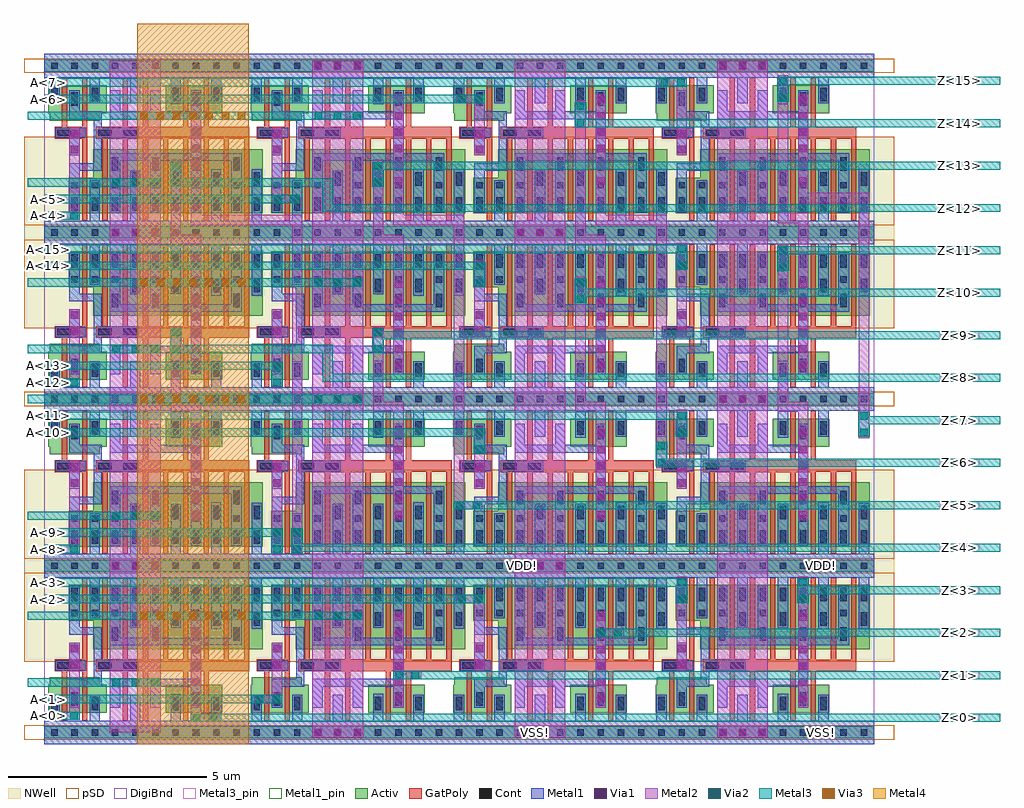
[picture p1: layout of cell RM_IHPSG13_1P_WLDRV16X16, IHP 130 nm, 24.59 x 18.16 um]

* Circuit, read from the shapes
.subckt RM_IHPSG13_1P_WLDRV16X16 A<0> A<10> A<11> A<12> A<13> A<14> A<15> A<1> A<2> A<3> A<4> A<5> A<6> A<7> A<8> A<9> VDD! VSS! Z<0> Z<10> Z<11> Z<12> Z<13> Z<14> Z<15> Z<1> Z<2> Z<3> Z<4> Z<5> Z<6> Z<7> Z<8> Z<9>
XM1 n1 A<0> VSS! VSS! sg13_lv_nmos w=0.9u l=0.13u m=2
XM2 n2 A<8> VSS! VSS! sg13_lv_nmos w=0.9u l=0.13u m=2
XM3 n3 A<12> VSS! VSS! sg13_lv_nmos w=0.9u l=0.13u m=2
XM4 n4 A<4> VSS! VSS! sg13_lv_nmos w=0.9u l=0.13u m=2
XM5 Z<0> n1 VSS! VSS! sg13_lv_nmos w=0.705u l=0.13u m=2
XM6 Z<8> n2 VSS! VSS! sg13_lv_nmos w=0.705u l=0.13u m=2
XM7 Z<12> n3 VSS! VSS! sg13_lv_nmos w=0.705u l=0.13u m=2
XM8 Z<4> n4 VSS! VSS! sg13_lv_nmos w=0.705u l=0.13u m=2
XM9 n5 A<1> VSS! VSS! sg13_lv_nmos w=0.9u l=0.13u m=2
XM10 n6 A<9> VSS! VSS! sg13_lv_nmos w=0.9u l=0.13u m=2
XM11 n7 A<13> VSS! VSS! sg13_lv_nmos w=0.9u l=0.13u m=2
XM12 n8 A<5> VSS! VSS! sg13_lv_nmos w=0.9u l=0.13u m=2
XM13 Z<1> n5 VSS! VSS! sg13_lv_nmos w=0.705u l=0.13u m=2
XM14 Z<9> n6 VSS! VSS! sg13_lv_nmos w=0.705u l=0.13u m=2
XM15 Z<13> n7 VSS! VSS! sg13_lv_nmos w=0.705u l=0.13u m=2
XM16 Z<5> n8 VSS! VSS! sg13_lv_nmos w=0.705u l=0.13u m=2
XM17 n9 A<2> VSS! VSS! sg13_lv_nmos w=0.9u l=0.13u m=2
XM18 n10 A<10> VSS! VSS! sg13_lv_nmos w=0.9u l=0.13u m=2
XM19 n11 A<14> VSS! VSS! sg13_lv_nmos w=0.9u l=0.13u m=2
XM20 n12 A<6> VSS! VSS! sg13_lv_nmos w=0.9u l=0.13u m=2
XM21 Z<2> n9 VSS! VSS! sg13_lv_nmos w=0.705u l=0.13u m=2
XM22 Z<10> n10 VSS! VSS! sg13_lv_nmos w=0.705u l=0.13u m=2
XM23 Z<14> n11 VSS! VSS! sg13_lv_nmos w=0.705u l=0.13u m=2
XM24 Z<6> n12 VSS! VSS! sg13_lv_nmos w=0.705u l=0.13u m=2
XM25 n13 A<3> VSS! VSS! sg13_lv_nmos w=0.9u l=0.13u m=2
XM26 n14 A<11> VSS! VSS! sg13_lv_nmos w=0.9u l=0.13u m=2
XM27 n15 A<15> VSS! VSS! sg13_lv_nmos w=0.9u l=0.13u m=2
XM28 n16 A<7> VSS! VSS! sg13_lv_nmos w=0.9u l=0.13u m=2
XM29 Z<3> n13 VSS! VSS! sg13_lv_nmos w=0.705u l=0.13u m=2
XM30 Z<11> n14 VSS! VSS! sg13_lv_nmos w=0.705u l=0.13u m=2
XM31 Z<15> n15 VSS! VSS! sg13_lv_nmos w=0.705u l=0.13u m=2
XM32 Z<7> n16 VSS! VSS! sg13_lv_nmos w=0.705u l=0.13u m=2
XM33 VDD! A<0> n1 VDD! sg13_lv_pmos w=0.9u l=0.13u
XM34 VDD! A<8> n2 VDD! sg13_lv_pmos w=0.9u l=0.13u
XM35 VDD! A<12> n3 VDD! sg13_lv_pmos w=0.9u l=0.13u
XM36 VDD! A<4> n4 VDD! sg13_lv_pmos w=0.9u l=0.13u
XM37 Z<0> n1 VDD! VDD! sg13_lv_pmos w=1.62u l=0.13u m=8
XM38 Z<8> n2 VDD! VDD! sg13_lv_pmos w=1.62u l=0.13u m=8
XM39 Z<12> n3 VDD! VDD! sg13_lv_pmos w=1.62u l=0.13u m=8
XM40 Z<4> n4 VDD! VDD! sg13_lv_pmos w=1.62u l=0.13u m=8
XM41 VDD! A<1> n5 VDD! sg13_lv_pmos w=0.9u l=0.13u
XM42 VDD! A<9> n6 VDD! sg13_lv_pmos w=0.9u l=0.13u
XM43 VDD! A<13> n7 VDD! sg13_lv_pmos w=0.9u l=0.13u
XM44 VDD! A<5> n8 VDD! sg13_lv_pmos w=0.9u l=0.13u
XM45 Z<1> n5 VDD! VDD! sg13_lv_pmos w=1.62u l=0.13u m=8
XM46 Z<9> n6 VDD! VDD! sg13_lv_pmos w=1.62u l=0.13u m=8
XM47 Z<13> n7 VDD! VDD! sg13_lv_pmos w=1.62u l=0.13u m=8
XM48 Z<5> n8 VDD! VDD! sg13_lv_pmos w=1.62u l=0.13u m=8
XM49 VDD! A<2> n9 VDD! sg13_lv_pmos w=0.9u l=0.13u
XM50 VDD! A<10> n10 VDD! sg13_lv_pmos w=0.9u l=0.13u
XM51 VDD! A<14> n11 VDD! sg13_lv_pmos w=0.9u l=0.13u
XM52 VDD! A<6> n12 VDD! sg13_lv_pmos w=0.9u l=0.13u
XM53 Z<2> n9 VDD! VDD! sg13_lv_pmos w=1.62u l=0.13u m=8
XM54 Z<10> n10 VDD! VDD! sg13_lv_pmos w=1.62u l=0.13u m=8
XM55 Z<14> n11 VDD! VDD! sg13_lv_pmos w=1.62u l=0.13u m=8
XM56 Z<6> n12 VDD! VDD! sg13_lv_pmos w=1.62u l=0.13u m=8
XM57 VDD! A<3> n13 VDD! sg13_lv_pmos w=0.9u l=0.13u
XM58 VDD! A<11> n14 VDD! sg13_lv_pmos w=0.9u l=0.13u
XM59 VDD! A<15> n15 VDD! sg13_lv_pmos w=0.9u l=0.13u
XM60 VDD! A<7> n16 VDD! sg13_lv_pmos w=0.9u l=0.13u
XM61 Z<3> n13 VDD! VDD! sg13_lv_pmos w=1.62u l=0.13u m=8
XM62 Z<11> n14 VDD! VDD! sg13_lv_pmos w=1.62u l=0.13u m=8
XM63 Z<15> n15 VDD! VDD! sg13_lv_pmos w=1.62u l=0.13u m=8
XM64 Z<7> n16 VDD! VDD! sg13_lv_pmos w=1.62u l=0.13u m=8
.ends

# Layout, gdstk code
from math import pi, radians
import gdstk
lib = gdstk.Library(unit=1e-6, precision=1e-09)
def R(c, l, rs):  # rectangles x0, y0, x1, y1
    for r in rs: c.add(gdstk.rectangle(r[:2], r[2:], *l))
def A(c, l, x, y, w, h, nx, ny, dx, dy):  # array of equal rectangles
    R(c, l, [(x+i*dx, y+j*dy, x+i*dx+w, y+j*dy+h) for i in range(nx) for j in range(ny)])
def P(c, l, *ps):  # polygons
    for p in ps: c.add(gdstk.Polygon(p, *l))
Activ = (1, 0)
GatPoly = (5, 0)
Cont = (6, 0)
Metal1 = (8, 0)
Metal1_pin = (8, 2)
Metal2 = (10, 0)
pSD = (14, 0)
DigiBnd = (16, 0)
Via1 = (19, 0)
Via2 = (29, 0)
Metal3 = (30, 0)
Metal3_pin = (30, 2)
NWell = (31, 0)
Via3 = (49, 0)
Metal4 = (50, 0)

rsc_ihpsg13_wldrvx16 = lib.new_cell('RSC_IHPSG13_WLDRVX16')
R(rsc_ihpsg13_wldrvx16, Activ, [(0,-0.15,5.61,0.15), (3.06,0.49,4.485,1.195), (0,4.05,5.61,4.35)])
P(rsc_ihpsg13_wldrvx16, Activ, [(1.235,2.1),(1.235,2.82),(0.615,2.82),(0.615,3.72),(5.505,3.72),(5.505,2.1)],
  [(0.105,0.49),(0.105,1.195),(0.135,1.195),(0.135,1.39),(1.395,1.39),(1.395,1.195),(1.57,1.195),(1.57,0.49)])
P(rsc_ihpsg13_wldrvx16, GatPoly, [(1.975,0.3),(1.975,1.54),(1.295,1.54),(1.295,1.84),(1.465,1.84),(1.465,3.9),(1.595,3.9),(1.595,1.84),(1.975,1.84),(1.975,3.9),(2.105,3.9),(2.105,1.84),(2.485,1.84),(2.485,3.9),(2.615,3.9),(2.615,1.84),(2.995,1.84),(2.995,3.9),(3.125,3.9),(3.125,1.84),(3.505,1.84),(3.505,3.9),(3.635,3.9),(3.635,1.84),(4.015,1.84),(4.015,3.9),(4.145,3.9),(4.145,1.835),(4.525,1.835),(4.525,3.9),(4.655,3.9),(4.655,1.835),(5.035,1.835),(5.035,3.9),(5.165,3.9),(5.165,1.54),(4.145,1.54),(4.145,0.3),(4.015,0.3),(4.015,1.54),(3.635,1.54),(3.635,0.3),(3.505,0.3),(3.505,1.54),(2.615,1.54),(2.615,0.3),(2.485,0.3),(2.485,1.54),(2.105,1.54),(2.105,0.3)],
  [(0.445,0.3),(0.445,1.54),(0.26,1.54),(0.26,1.84),(0.955,1.84),(0.955,3.9),(1.085,3.9),(1.085,0.3),(0.955,0.3),(0.955,1.54),(0.575,1.54),(0.575,0.3)])
A(rsc_ihpsg13_wldrvx16, Cont, 0.175, -0.08, 0.16, 0.16, 11, 2, 0.51, 4.2)
A(rsc_ihpsg13_wldrvx16, Cont, 1.705, 2.31, 0.16, 0.34, 4, 1, 1.02, 0)
A(rsc_ihpsg13_wldrvx16, Cont, 2.215, 2.69, 0.16, 0.34, 4, 1, 1.02, 0)
A(rsc_ihpsg13_wldrvx16, Cont, 0.685, 2.93, 0.16, 0.16, 3, 1, 0.51, 0)
A(rsc_ihpsg13_wldrvx16, Cont, 2.725, 2.93, 0.16, 0.16, 3, 1, 1.02, 0)
A(rsc_ihpsg13_wldrvx16, Cont, 0.685, 3.31, 0.16, 0.34, 10, 1, 0.51, 0)
R(rsc_ihpsg13_wldrvx16, Cont, [(0.175,0.56,0.335,0.9), (1.195,0.56,1.355,0.9), (3.235,0.56,3.395,0.9), (4.255,0.56,4.415,0.9), (0.685,0.67,0.845,1.01), (3.745,0.67,3.905,1.01), (0.33,1.61,0.67,1.77), (1.365,1.61,1.705,1.77), (1.985,1.61,2.325,1.77)])
R(rsc_ihpsg13_wldrvx16, Metal1, [(0.28,1.56,1.05,1.82), (5.225,2.61,5.485,3.935)])
P(rsc_ihpsg13_wldrvx16, Metal1, [(0.635,0.62),(0.635,1.35),(1.25,1.35),(1.25,2.46),(0.635,2.46),(0.635,3.7),(0.895,3.7),(0.895,2.65),(1.455,2.65),(1.455,1.83),(2.375,1.83),(2.375,1.56),(1.455,1.56),(1.455,1.15),(0.895,1.15),(0.895,0.62)],
  [(1.655,0.62),(1.655,1.35),(3.695,1.35),(3.695,2.2),(1.655,2.2),(1.655,3.7),(1.915,3.7),(1.915,2.39),(2.675,2.39),(2.675,3.7),(2.935,3.7),(2.935,2.39),(3.695,2.39),(3.695,3.7),(3.955,3.7),(3.955,2.39),(4.71,2.39),(4.71,3.7),(4.98,3.7),(4.98,2.2),(3.955,2.2),(3.955,0.62),(3.695,0.62),(3.695,1.15),(2.935,1.15),(2.935,0.62),(2.675,0.62),(2.675,1.15),(1.915,1.15),(1.915,0.62)],
  [(4.205,2.605),(4.205,3.9),(3.445,3.9),(3.445,2.64),(3.185,2.64),(3.185,3.9),(2.425,3.9),(2.425,2.64),(2.165,2.64),(2.165,3.9),(1.405,3.9),(1.405,2.88),(1.145,2.88),(1.145,3.9),(0,3.9),(0,4.5),(5.61,4.5),(5.61,3.9),(4.465,3.9),(4.465,2.605)],
  [(0,-0.3),(0,0.3),(0.125,0.3),(0.125,0.95),(0.385,0.95),(0.385,0.3),(1.145,0.3),(1.145,0.95),(1.405,0.95),(1.405,0.3),(2.165,0.3),(2.165,0.95),(2.425,0.95),(2.425,0.3),(3.185,0.3),(3.185,0.97),(3.445,0.97),(3.445,0.3),(4.205,0.3),(4.205,0.95),(4.465,0.95),(4.465,0.3),(5.61,0.3),(5.61,-0.3)])
R(rsc_ihpsg13_wldrvx16, Metal1_pin, [(0,-0.3,5.61,0.3), (3.695,0.62,3.955,3.7), (0.28,1.56,1.05,1.82), (0,3.9,5.61,4.5)])
R(rsc_ihpsg13_wldrvx16, pSD, [(-0.51,-0.18,6.12,0.18), (-0.51,1.785,6.12,4.02)])
R(rsc_ihpsg13_wldrvx16, DigiBnd, [(0,-0.3,5.61,4.5)])
R(rsc_ihpsg13_wldrvx16, NWell, [(-0.51,1.785,6.12,4.725)])
rsc_ihpsg13_wldrvx16.add(gdstk.Label('A', (0.51,1.695), layer=8, texttype=2))
rsc_ihpsg13_wldrvx16.add(gdstk.Label('Z', (3.826,1.995), layer=8, texttype=2))
rsc_ihpsg13_wldrvx16.add(gdstk.Label('VDD!', (0.84,4.2), layer=8, texttype=2))
rsc_ihpsg13_wldrvx16.add(gdstk.Label('VSS!', (1.155,0.005), layer=8, texttype=2))

m2_m1_cdns_661773879933 = lib.new_cell('M2_M1_CDNS_661773879933')
R(m2_m1_cdns_661773879933, Metal1, [(-0.35,-0.13,0.35,0.13)])
R(m2_m1_cdns_661773879933, Metal2, [(-0.35,-0.13,0.35,0.13)])
R(m2_m1_cdns_661773879933, Via1, [(-0.3,-0.095,-0.11,0.095), (0.11,-0.095,0.3,0.095)])

viagen23_cdns_6617738799 = lib.new_cell('viagen23_CDNS_661773879935')
R(viagen23_cdns_6617738799, Metal2, [(-0.13,-0.355,0.13,0.355)])
R(viagen23_cdns_6617738799, Via2, [(-0.095,-0.305,0.095,-0.115), (-0.095,0.115,0.095,0.305)])
R(viagen23_cdns_6617738799, Metal3, [(-0.145,-0.315,0.145,0.315)])

viagen34_cdns_6617738799 = lib.new_cell('viagen34_CDNS_661773879937')
R(viagen34_cdns_6617738799, Metal3, [(-1.405,-0.105,1.405,0.105)])
A(viagen34_cdns_6617738799, Via3, -1.325, -0.095, 0.19, 0.19, 7, 1, 0.41, 0)
R(viagen34_cdns_6617738799, Metal4, [(-1.405,-0.105,1.405,0.105)])

m3_m2_cdns_6617738799330 = lib.new_cell('M3_M2_CDNS_6617738799330')
R(m3_m2_cdns_6617738799330, Metal2, [(-0.355,-0.105,0.355,0.105)])
R(m3_m2_cdns_6617738799330, Via2, [(-0.305,-0.095,-0.115,0.095), (0.115,-0.095,0.305,0.095)])
R(m3_m2_cdns_6617738799330, Metal3, [(-0.355,-0.105,0.355,0.105)])

viagen12_cdns_6617738799 = lib.new_cell('viagen12_CDNS_6617738799335')
R(viagen12_cdns_6617738799, Metal1, [(-0.64,-0.13,0.64,0.13)])
R(viagen12_cdns_6617738799, Metal2, [(-0.64,-0.13,0.64,0.13)])
A(viagen12_cdns_6617738799, Via1, -0.59, -0.095, 0.19, 0.19, 3, 1, 0.495, 0)

m3_m2_cdns_6617738799336 = lib.new_cell('M3_M2_CDNS_6617738799336')
R(m3_m2_cdns_6617738799336, Metal2, [(-0.355,-0.105,0.355,0.105)])
R(m3_m2_cdns_6617738799336, Via2, [(-0.305,-0.095,-0.115,0.095), (0.115,-0.095,0.305,0.095)])
R(m3_m2_cdns_6617738799336, Metal3, [(-0.355,-0.1,0.355,0.1)])

c_viagen12_cdns_6617738799 = lib.new_cell('viagen12_CDNS_6617738799337')
R(c_viagen12_cdns_6617738799, Metal1, [(-1.17,-0.13,1.17,0.13)])
R(c_viagen12_cdns_6617738799, Metal2, [(-1.17,-0.13,1.17,0.13)])
A(c_viagen12_cdns_6617738799, Via1, -1.12, -0.095, 0.19, 0.19, 6, 1, 0.41, 0)

c_viagen23_cdns_6617738799 = lib.new_cell('viagen23_CDNS_6617738799338')
R(c_viagen23_cdns_6617738799, Metal2, [(-0.625,-0.105,0.625,0.105)])
A(c_viagen23_cdns_6617738799, Via2, -0.575, -0.095, 0.19, 0.19, 3, 1, 0.48, 0)
R(c_viagen23_cdns_6617738799, Metal3, [(-0.625,-0.105,0.625,0.105)])

rm_ihpsg13_1p_wldrv16x16 = lib.new_cell('RM_IHPSG13_1P_WLDRV16X16')
R(rm_ihpsg13_1p_wldrv16x16, Metal1_pin, [(11.22,-0.3,15.81,0.3), (19.29,-0.3,20.91,0.3), (11.22,3.9,15.81,4.5), (19.29,3.9,20.91,4.5)])
A(rm_ihpsg13_1p_wldrv16x16, Metal2, 6.755, -0.13, 1.28, 17.06, 3, 1, 5.1, 0)
A(rm_ihpsg13_1p_wldrv16x16, Metal2, 1.655, 0, 0.26, 16.8, 3, 1, 0.51, 0)
A(rm_ihpsg13_1p_wldrv16x16, Metal2, 6.755, 0, 0.26, 16.8, 3, 1, 0.51, 0)
A(rm_ihpsg13_1p_wldrv16x16, Metal2, 11.855, 0, 0.26, 16.8, 3, 1, 0.51, 0)
A(rm_ihpsg13_1p_wldrv16x16, Metal2, 16.955, 0, 0.26, 16.8, 3, 1, 0.51, 0)
A(rm_ihpsg13_1p_wldrv16x16, Metal2, 3.695, 5.35, 0.26, 2.735, 4, 1, 5.1, 0)
A(rm_ihpsg13_1p_wldrv16x16, Metal2, 3.695, 12.915, 0.26, 3.175, 3, 1, 5.1, 0)
R(rm_ihpsg13_1p_wldrv16x16, Metal2, [(1.655,0,2.935,16.93), (0.635,0.315,0.895,2), (3.695,0.315,3.955,3.05), (8.795,0.62,9.055,3.05), (13.895,0.62,14.155,3.05), (18.995,0.62,19.255,3.885), (5.735,0.735,5.995,2), (10.835,1.74,11.095,3.465), (15.935,1.74,16.195,3.885), (0.635,4.515,0.895,6.66), (5.735,4.935,5.995,6.66), (10.835,6.4,11.095,7.665), (15.935,6.4,16.195,8.085), (0.635,8.715,0.895,10.4), (8.795,9.02,9.055,12.285), (13.895,9.02,14.155,12.285), (18.995,9.02,19.255,12.84), (3.695,9.11,3.955,12.285), (5.735,9.135,5.995,10.4), (10.835,10.14,11.095,11.865), (15.935,10.14,16.195,12.285), (0.635,12.915,0.895,15.06), (5.735,13.335,5.995,15.06), (18.995,13.47,19.255,16.09), (10.835,14.8,11.095,16.065), (15.935,14.8,16.195,16.485)])
P(rm_ihpsg13_1p_wldrv16x16, Metal2, [(15.425,6.655),(15.425,12.785),(13.895,12.785),(13.895,13.045),(15.685,13.045),(15.685,6.655)],
  [(20.525,7.415),(20.525,13.34),(18.995,13.34),(18.995,13.6),(20.785,13.6),(20.785,7.415)],
  [(10.325,5.62),(10.325,12.785),(8.795,12.785),(8.795,13.045),(10.585,13.045),(10.585,5.62)],
  [(6.245,4.515),(6.245,12.785),(3.695,12.785),(3.695,13.045),(6.505,13.045),(6.505,4.515)],
  [(8.285,8.075),(8.285,10.225),(8.545,10.225),(8.545,8.335),(9.055,8.335),(9.055,8.075)],
  [(13.385,12.275),(13.385,15.925),(13.645,15.925),(13.645,12.535),(14.155,12.535),(14.155,12.275)],
  [(18.485,8.075),(18.485,12.025),(18.745,12.025),(18.745,8.335),(19.255,8.335),(19.255,8.075)],
  [(8.285,12.275),(8.285,14.425),(8.545,14.425),(8.545,12.535),(9.055,12.535),(9.055,12.275)],
  [(3.185,12.275),(3.185,14.425),(3.445,14.425),(3.445,12.535),(3.955,12.535),(3.955,12.275)],
  [(3.185,8.075),(3.185,10.225),(3.445,10.225),(3.445,8.335),(3.955,8.335),(3.955,8.075)],
  [(18.485,12.83),(18.485,16.485),(18.745,16.485),(18.745,13.09),(19.255,13.09),(19.255,12.83)],
  [(13.385,8.075),(13.385,11.485),(13.645,11.485),(13.645,8.335),(14.155,8.335),(14.155,8.075)])
A(rm_ihpsg13_1p_wldrv16x16, Metal3, 0, 0.315, 0.895, 0.21, 1, 4, 0, 4.2)
A(rm_ihpsg13_1p_wldrv16x16, Metal3, 0, 0.735, 5.995, 0.21, 1, 3, 0, 4.2)
A(rm_ihpsg13_1p_wldrv16x16, Metal3, -0.41, 1.155, 2.835, 0.21, 1, 4, 0, 4.2)
A(rm_ihpsg13_1p_wldrv16x16, Metal3, 0, 3.255, 11.095, 0.21, 1, 4, 0, 4.2)
A(rm_ihpsg13_1p_wldrv16x16, Metal3, 0, 3.675, 16.195, 0.21, 1, 4, 0, 4.2)
R(rm_ihpsg13_1p_wldrv16x16, Metal3, [(3.695,0.275,24.085,0.475), (8.795,1.345,24.085,1.545), (13.895,2.415,24.085,2.615), (-0.41,2.835,7.445,3.045), (18.995,3.485,24.085,3.685), (6.245,4.555,24.085,4.755), (10.325,5.625,24.085,5.825), (15.425,6.695,24.085,6.895), (20.525,7.765,24.085,7.965), (-0.41,8.295,7.445,8.505), (7.015,8.835,24.085,9.035), (7.015,8.835,7.265,9.765), (3.17,9.555,7.265,9.765), (8.285,9.905,24.085,10.105), (13.385,10.975,24.085,11.175), (-0.41,11.235,7.445,11.445), (18.47,11.985,18.76,12.245), (18.485,12.045,24.085,12.245), (7.015,13.115,24.085,13.315), (7.015,13.115,7.265,13.965), (0,13.335,6.445,13.545), (3.17,13.755,7.265,13.965), (8.285,14.185,24.085,14.385), (13.385,15.255,24.085,15.455), (-0.41,15.435,7.445,15.645), (18.485,16.325,24.085,16.525)])
A(rm_ihpsg13_1p_wldrv16x16, Metal3_pin, 22.565, 0.275, 1, 0.2, 1, 16, 0, 1.07)
R(rm_ihpsg13_1p_wldrv16x16, Metal3_pin, [(0,0.315,0.21,0.525), (0,0.735,0.21,0.945), (0,3.255,0.21,3.465), (0,3.675,0.21,3.885), (0,4.515,0.21,4.725), (0,4.935,0.21,5.145), (0,7.455,0.21,7.665), (0,7.875,0.21,8.085), (0,8.715,0.21,8.925), (0,9.135,0.21,9.345), (0.005,11.655,0.215,11.865), (0.005,12.075,0.215,12.285), (0,12.915,0.21,13.125), (0,13.335,0.21,13.545), (0,15.855,0.21,16.065), (0,16.275,0.21,16.485)])
R(rm_ihpsg13_1p_wldrv16x16, Metal4, [(2.34,-0.3,5.15,17.86)])
r = gdstk.Reference(rsc_ihpsg13_wldrvx16, (0,16.8), x_reflection=True); r.repetition = gdstk.Repetition(4, 2, v1=(5.1,0), v2=(0,-8.4)); rm_ihpsg13_1p_wldrv16x16.add(r)
r = gdstk.Reference(rsc_ihpsg13_wldrvx16, (0,0)); r.repetition = gdstk.Repetition(4, 2, v1=(5.1,0), v2=(0,8.4)); rm_ihpsg13_1p_wldrv16x16.add(r)
rm_ihpsg13_1p_wldrv16x16.add(gdstk.Reference(m2_m1_cdns_661773879933, (0.765,14.89), rotation=pi/2))
rm_ihpsg13_1p_wldrv16x16.add(gdstk.Reference(m2_m1_cdns_661773879933, (5.865,14.89), rotation=pi/2))
rm_ihpsg13_1p_wldrv16x16.add(gdstk.Reference(m2_m1_cdns_661773879933, (10.965,14.89), rotation=pi/2))
rm_ihpsg13_1p_wldrv16x16.add(gdstk.Reference(m2_m1_cdns_661773879933, (16.065,14.89), rotation=pi/2))
rm_ihpsg13_1p_wldrv16x16.add(gdstk.Reference(m2_m1_cdns_661773879933, (5.865,10.31), rotation=pi/2))
rm_ihpsg13_1p_wldrv16x16.add(gdstk.Reference(m2_m1_cdns_661773879933, (10.965,10.31), rotation=pi/2))
rm_ihpsg13_1p_wldrv16x16.add(gdstk.Reference(m2_m1_cdns_661773879933, (16.065,10.31), rotation=pi/2))
rm_ihpsg13_1p_wldrv16x16.add(gdstk.Reference(m2_m1_cdns_661773879933, (5.865,1.91), rotation=pi/2))
rm_ihpsg13_1p_wldrv16x16.add(gdstk.Reference(m2_m1_cdns_661773879933, (10.965,1.91), rotation=pi/2))
rm_ihpsg13_1p_wldrv16x16.add(gdstk.Reference(m2_m1_cdns_661773879933, (16.065,1.91), rotation=pi/2))
rm_ihpsg13_1p_wldrv16x16.add(gdstk.Reference(m2_m1_cdns_661773879933, (5.865,6.49), rotation=pi/2))
rm_ihpsg13_1p_wldrv16x16.add(gdstk.Reference(m2_m1_cdns_661773879933, (10.965,6.49), rotation=pi/2))
rm_ihpsg13_1p_wldrv16x16.add(gdstk.Reference(m2_m1_cdns_661773879933, (16.065,6.49), rotation=pi/2))
rm_ihpsg13_1p_wldrv16x16.add(gdstk.Reference(m2_m1_cdns_661773879933, (0.765,1.91), rotation=pi/2))
rm_ihpsg13_1p_wldrv16x16.add(gdstk.Reference(m2_m1_cdns_661773879933, (0.765,6.49), rotation=pi/2))
rm_ihpsg13_1p_wldrv16x16.add(gdstk.Reference(m2_m1_cdns_661773879933, (0.765,10.31), rotation=pi/2))
rm_ihpsg13_1p_wldrv16x16.add(gdstk.Reference(viagen23_cdns_6617738799, (16.065,7.77), rotation=pi, x_reflection=True))
rm_ihpsg13_1p_wldrv16x16.add(gdstk.Reference(viagen23_cdns_6617738799, (10.965,7.35), rotation=pi, x_reflection=True))
rm_ihpsg13_1p_wldrv16x16.add(gdstk.Reference(viagen23_cdns_6617738799, (5.865,4.83), rotation=pi, x_reflection=True))
rm_ihpsg13_1p_wldrv16x16.add(gdstk.Reference(viagen23_cdns_6617738799, (5.865,9.03), rotation=pi, x_reflection=True))
rm_ihpsg13_1p_wldrv16x16.add(gdstk.Reference(viagen23_cdns_6617738799, (10.965,11.55), rotation=pi, x_reflection=True))
rm_ihpsg13_1p_wldrv16x16.add(gdstk.Reference(viagen23_cdns_6617738799, (18.615,11.93), rotation=pi, x_reflection=True))
rm_ihpsg13_1p_wldrv16x16.add(gdstk.Reference(viagen23_cdns_6617738799, (6.375,4.83), rotation=pi, x_reflection=True))
rm_ihpsg13_1p_wldrv16x16.add(gdstk.Reference(viagen23_cdns_6617738799, (16.065,11.97), rotation=pi, x_reflection=True))
rm_ihpsg13_1p_wldrv16x16.add(gdstk.Reference(viagen23_cdns_6617738799, (3.315,9.87), rotation=pi, x_reflection=True))
rm_ihpsg13_1p_wldrv16x16.add(gdstk.Reference(viagen23_cdns_6617738799, (8.415,9.87), rotation=pi, x_reflection=True))
rm_ihpsg13_1p_wldrv16x16.add(gdstk.Reference(viagen23_cdns_6617738799, (13.515,11.13), rotation=pi, x_reflection=True))
rm_ihpsg13_1p_wldrv16x16.add(gdstk.Reference(viagen23_cdns_6617738799, (19.125,3.57), rotation=pi, x_reflection=True))
rm_ihpsg13_1p_wldrv16x16.add(gdstk.Reference(viagen23_cdns_6617738799, (8.415,14.07), rotation=pi, x_reflection=True))
rm_ihpsg13_1p_wldrv16x16.add(gdstk.Reference(viagen23_cdns_6617738799, (13.515,15.57), rotation=pi, x_reflection=True))
rm_ihpsg13_1p_wldrv16x16.add(gdstk.Reference(viagen23_cdns_6617738799, (18.615,16.21), rotation=pi, x_reflection=True))
rm_ihpsg13_1p_wldrv16x16.add(gdstk.Reference(viagen23_cdns_6617738799, (3.315,14.07), rotation=pi, x_reflection=True))
rm_ihpsg13_1p_wldrv16x16.add(gdstk.Reference(viagen23_cdns_6617738799, (20.655,7.77), rotation=pi, x_reflection=True))
rm_ihpsg13_1p_wldrv16x16.add(gdstk.Reference(viagen23_cdns_6617738799, (15.555,7.01), rotation=pi, x_reflection=True))
rm_ihpsg13_1p_wldrv16x16.add(gdstk.Reference(viagen23_cdns_6617738799, (16.065,3.57), rotation=pi, x_reflection=True))
rm_ihpsg13_1p_wldrv16x16.add(gdstk.Reference(viagen34_cdns_6617738799, (3.745,15.54), rotation=pi))
rm_ihpsg13_1p_wldrv16x16.add(gdstk.Reference(viagen34_cdns_6617738799, (3.745,11.34), rotation=pi))
rm_ihpsg13_1p_wldrv16x16.add(gdstk.Reference(viagen34_cdns_6617738799, (3.745,8.4), rotation=pi))
rm_ihpsg13_1p_wldrv16x16.add(gdstk.Reference(viagen34_cdns_6617738799, (3.745,2.94), rotation=pi))
rm_ihpsg13_1p_wldrv16x16.add(gdstk.Reference(m3_m2_cdns_6617738799330, (0.54,4.62), rotation=pi, x_reflection=True))
rm_ihpsg13_1p_wldrv16x16.add(gdstk.Reference(m3_m2_cdns_6617738799330, (0.54,0.42), rotation=pi, x_reflection=True))
rm_ihpsg13_1p_wldrv16x16.add(gdstk.Reference(m3_m2_cdns_6617738799330, (10.74,3.36), rotation=pi, x_reflection=True))
rm_ihpsg13_1p_wldrv16x16.add(gdstk.Reference(m3_m2_cdns_6617738799330, (0.54,8.82), rotation=pi, x_reflection=True))
rm_ihpsg13_1p_wldrv16x16.add(gdstk.Reference(m3_m2_cdns_6617738799330, (6.09,13.44), rotation=pi, x_reflection=True))
rm_ihpsg13_1p_wldrv16x16.add(gdstk.Reference(m3_m2_cdns_6617738799330, (0.54,13.02), rotation=pi, x_reflection=True))
rm_ihpsg13_1p_wldrv16x16.add(gdstk.Reference(m3_m2_cdns_6617738799330, (15.84,16.38), rotation=pi, x_reflection=True))
rm_ihpsg13_1p_wldrv16x16.add(gdstk.Reference(m3_m2_cdns_6617738799330, (10.74,15.96), rotation=pi, x_reflection=True))
rm_ihpsg13_1p_wldrv16x16.add(gdstk.Reference(m3_m2_cdns_6617738799330, (5.64,0.84), rotation=pi, x_reflection=True))
rm_ihpsg13_1p_wldrv16x16.add(gdstk.Reference(viagen12_cdns_6617738799, (7.395,16.8), rotation=pi))
rm_ihpsg13_1p_wldrv16x16.add(gdstk.Reference(viagen12_cdns_6617738799, (7.395,8.4), rotation=pi))
rm_ihpsg13_1p_wldrv16x16.add(gdstk.Reference(viagen12_cdns_6617738799, (17.595,8.4), rotation=pi))
rm_ihpsg13_1p_wldrv16x16.add(gdstk.Reference(viagen12_cdns_6617738799, (17.595,16.8), rotation=pi))
rm_ihpsg13_1p_wldrv16x16.add(gdstk.Reference(viagen12_cdns_6617738799, (7.395,0), rotation=pi))
rm_ihpsg13_1p_wldrv16x16.add(gdstk.Reference(viagen12_cdns_6617738799, (2.295,12.6), rotation=pi))
rm_ihpsg13_1p_wldrv16x16.add(gdstk.Reference(viagen12_cdns_6617738799, (2.295,4.2), rotation=pi))
rm_ihpsg13_1p_wldrv16x16.add(gdstk.Reference(viagen12_cdns_6617738799, (12.495,12.6), rotation=pi))
rm_ihpsg13_1p_wldrv16x16.add(gdstk.Reference(viagen12_cdns_6617738799, (12.495,4.2), rotation=pi))
rm_ihpsg13_1p_wldrv16x16.add(gdstk.Reference(viagen12_cdns_6617738799, (17.595,0), rotation=pi))
rm_ihpsg13_1p_wldrv16x16.add(gdstk.Reference(m3_m2_cdns_6617738799336, (10.68,5.725), rotation=pi, x_reflection=True))
rm_ihpsg13_1p_wldrv16x16.add(gdstk.Reference(m3_m2_cdns_6617738799336, (14.25,2.515), rotation=pi, x_reflection=True))
rm_ihpsg13_1p_wldrv16x16.add(gdstk.Reference(m3_m2_cdns_6617738799336, (9.15,1.445), rotation=pi, x_reflection=True))
rm_ihpsg13_1p_wldrv16x16.add(gdstk.Reference(m3_m2_cdns_6617738799336, (4.05,0.375), rotation=pi, x_reflection=True))
rm_ihpsg13_1p_wldrv16x16.add(gdstk.Reference(c_viagen12_cdns_6617738799, (14.025,6.52), rotation=pi/2))
rm_ihpsg13_1p_wldrv16x16.add(gdstk.Reference(c_viagen12_cdns_6617738799, (8.925,6.52), rotation=pi/2))
rm_ihpsg13_1p_wldrv16x16.add(gdstk.Reference(c_viagen12_cdns_6617738799, (19.125,1.88), rotation=pi/2))
rm_ihpsg13_1p_wldrv16x16.add(gdstk.Reference(c_viagen12_cdns_6617738799, (14.025,1.88), rotation=pi/2))
rm_ihpsg13_1p_wldrv16x16.add(gdstk.Reference(c_viagen12_cdns_6617738799, (8.925,1.88), rotation=pi/2))
rm_ihpsg13_1p_wldrv16x16.add(gdstk.Reference(c_viagen12_cdns_6617738799, (19.125,10.28), rotation=pi/2))
rm_ihpsg13_1p_wldrv16x16.add(gdstk.Reference(c_viagen12_cdns_6617738799, (14.025,10.28), rotation=pi/2))
rm_ihpsg13_1p_wldrv16x16.add(gdstk.Reference(c_viagen12_cdns_6617738799, (8.925,10.28), rotation=pi/2))
rm_ihpsg13_1p_wldrv16x16.add(gdstk.Reference(c_viagen12_cdns_6617738799, (19.125,14.92), rotation=pi/2))
rm_ihpsg13_1p_wldrv16x16.add(gdstk.Reference(c_viagen12_cdns_6617738799, (14.025,14.92), rotation=pi/2))
rm_ihpsg13_1p_wldrv16x16.add(gdstk.Reference(c_viagen12_cdns_6617738799, (8.925,14.92), rotation=pi/2))
rm_ihpsg13_1p_wldrv16x16.add(gdstk.Reference(c_viagen12_cdns_6617738799, (3.825,10.28), rotation=pi/2))
rm_ihpsg13_1p_wldrv16x16.add(gdstk.Reference(c_viagen12_cdns_6617738799, (3.825,1.88), rotation=pi/2))
rm_ihpsg13_1p_wldrv16x16.add(gdstk.Reference(c_viagen12_cdns_6617738799, (3.825,6.52), rotation=pi/2))
rm_ihpsg13_1p_wldrv16x16.add(gdstk.Reference(c_viagen12_cdns_6617738799, (19.125,6.52), rotation=pi/2))
rm_ihpsg13_1p_wldrv16x16.add(gdstk.Reference(c_viagen12_cdns_6617738799, (3.825,14.92), rotation=pi/2))
rm_ihpsg13_1p_wldrv16x16.add(gdstk.Reference(c_viagen23_cdns_6617738799, (2.295,5.46)))
rm_ihpsg13_1p_wldrv16x16.add(gdstk.Reference(c_viagen23_cdns_6617738799, (2.295,9.66)))
rm_ihpsg13_1p_wldrv16x16.add(gdstk.Reference(c_viagen23_cdns_6617738799, (2.295,13.86)))
rm_ihpsg13_1p_wldrv16x16.add(gdstk.Reference(c_viagen23_cdns_6617738799, (2.295,1.26)))
rm_ihpsg13_1p_wldrv16x16.add(gdstk.Reference(c_viagen23_cdns_6617738799, (7.395,2.94)))
rm_ihpsg13_1p_wldrv16x16.add(gdstk.Reference(c_viagen23_cdns_6617738799, (7.395,8.4)))
rm_ihpsg13_1p_wldrv16x16.add(gdstk.Reference(c_viagen23_cdns_6617738799, (7.395,11.34)))
rm_ihpsg13_1p_wldrv16x16.add(gdstk.Reference(c_viagen23_cdns_6617738799, (7.395,15.54)))
rm_ihpsg13_1p_wldrv16x16.add(gdstk.Label('VDD!', (12.06,4.2), layer=8, texttype=2))
rm_ihpsg13_1p_wldrv16x16.add(gdstk.Label('VSS!', (12.375,0.005), layer=8, texttype=2))
rm_ihpsg13_1p_wldrv16x16.add(gdstk.Label('VSS!', (19.59,0), layer=8, texttype=2))
rm_ihpsg13_1p_wldrv16x16.add(gdstk.Label('VDD!', (19.59,4.2), layer=8, texttype=2))
rm_ihpsg13_1p_wldrv16x16.add(gdstk.Label('A<7>', (0.105,16.38), layer=30, texttype=25))
rm_ihpsg13_1p_wldrv16x16.add(gdstk.Label('A<9>', (0.105,5.04), layer=30, texttype=25))
rm_ihpsg13_1p_wldrv16x16.add(gdstk.Label('A<4>', (0.105,13.02), layer=30, texttype=25))
rm_ihpsg13_1p_wldrv16x16.add(gdstk.Label('A<5>', (0.105,13.44), layer=30, texttype=25))
rm_ihpsg13_1p_wldrv16x16.add(gdstk.Label('A<8>', (0.105,4.62), layer=30, texttype=25))
rm_ihpsg13_1p_wldrv16x16.add(gdstk.Label('A<6>', (0.105,15.96), layer=30, texttype=25))
rm_ihpsg13_1p_wldrv16x16.add(gdstk.Label('A<10>', (0.105,7.56), layer=30, texttype=25))
rm_ihpsg13_1p_wldrv16x16.add(gdstk.Label('A<11>', (0.105,7.98), layer=30, texttype=25))
rm_ihpsg13_1p_wldrv16x16.add(gdstk.Label('A<3>', (0.105,3.78), layer=30, texttype=25))
rm_ihpsg13_1p_wldrv16x16.add(gdstk.Label('A<14>', (0.11,11.76), layer=30, texttype=25))
rm_ihpsg13_1p_wldrv16x16.add(gdstk.Label('A<15>', (0.11,12.18), layer=30, texttype=25))
rm_ihpsg13_1p_wldrv16x16.add(gdstk.Label('A<0>', (0.105,0.42), layer=30, texttype=25))
rm_ihpsg13_1p_wldrv16x16.add(gdstk.Label('A<12>', (0.105,8.82), layer=30, texttype=25))
rm_ihpsg13_1p_wldrv16x16.add(gdstk.Label('A<13>', (0.105,9.24), layer=30, texttype=25))
rm_ihpsg13_1p_wldrv16x16.add(gdstk.Label('A<2>', (0.105,3.36), layer=30, texttype=25))
rm_ihpsg13_1p_wldrv16x16.add(gdstk.Label('Z<15>', (23.065,16.425), layer=30, texttype=25))
rm_ihpsg13_1p_wldrv16x16.add(gdstk.Label('A<1>', (0.105,0.84), layer=30, texttype=25))
rm_ihpsg13_1p_wldrv16x16.add(gdstk.Label('Z<0>', (23.065,0.375), layer=30, texttype=25))
rm_ihpsg13_1p_wldrv16x16.add(gdstk.Label('Z<1>', (23.065,1.445), layer=30, texttype=25))
rm_ihpsg13_1p_wldrv16x16.add(gdstk.Label('Z<2>', (23.065,2.515), layer=30, texttype=25))
rm_ihpsg13_1p_wldrv16x16.add(gdstk.Label('Z<3>', (23.065,3.585), layer=30, texttype=25))
rm_ihpsg13_1p_wldrv16x16.add(gdstk.Label('Z<4>', (23.065,4.655), layer=30, texttype=25))
rm_ihpsg13_1p_wldrv16x16.add(gdstk.Label('Z<5>', (23.065,5.725), layer=30, texttype=25))
rm_ihpsg13_1p_wldrv16x16.add(gdstk.Label('Z<6>', (23.065,6.795), layer=30, texttype=25))
rm_ihpsg13_1p_wldrv16x16.add(gdstk.Label('Z<7>', (23.065,7.865), layer=30, texttype=25))
rm_ihpsg13_1p_wldrv16x16.add(gdstk.Label('Z<8>', (23.065,8.935), layer=30, texttype=25))
rm_ihpsg13_1p_wldrv16x16.add(gdstk.Label('Z<9>', (23.065,10.005), layer=30, texttype=25))
rm_ihpsg13_1p_wldrv16x16.add(gdstk.Label('Z<10>', (23.065,11.075), layer=30, texttype=25))
rm_ihpsg13_1p_wldrv16x16.add(gdstk.Label('Z<11>', (23.065,12.145), layer=30, texttype=25))
rm_ihpsg13_1p_wldrv16x16.add(gdstk.Label('Z<12>', (23.065,13.215), layer=30, texttype=25))
rm_ihpsg13_1p_wldrv16x16.add(gdstk.Label('Z<13>', (23.065,14.285), layer=30, texttype=25))
rm_ihpsg13_1p_wldrv16x16.add(gdstk.Label('Z<14>', (23.065,15.355), layer=30, texttype=25))

lib.write_gds('RM_IHPSG13_1P_WLDRV16X16.gds')
